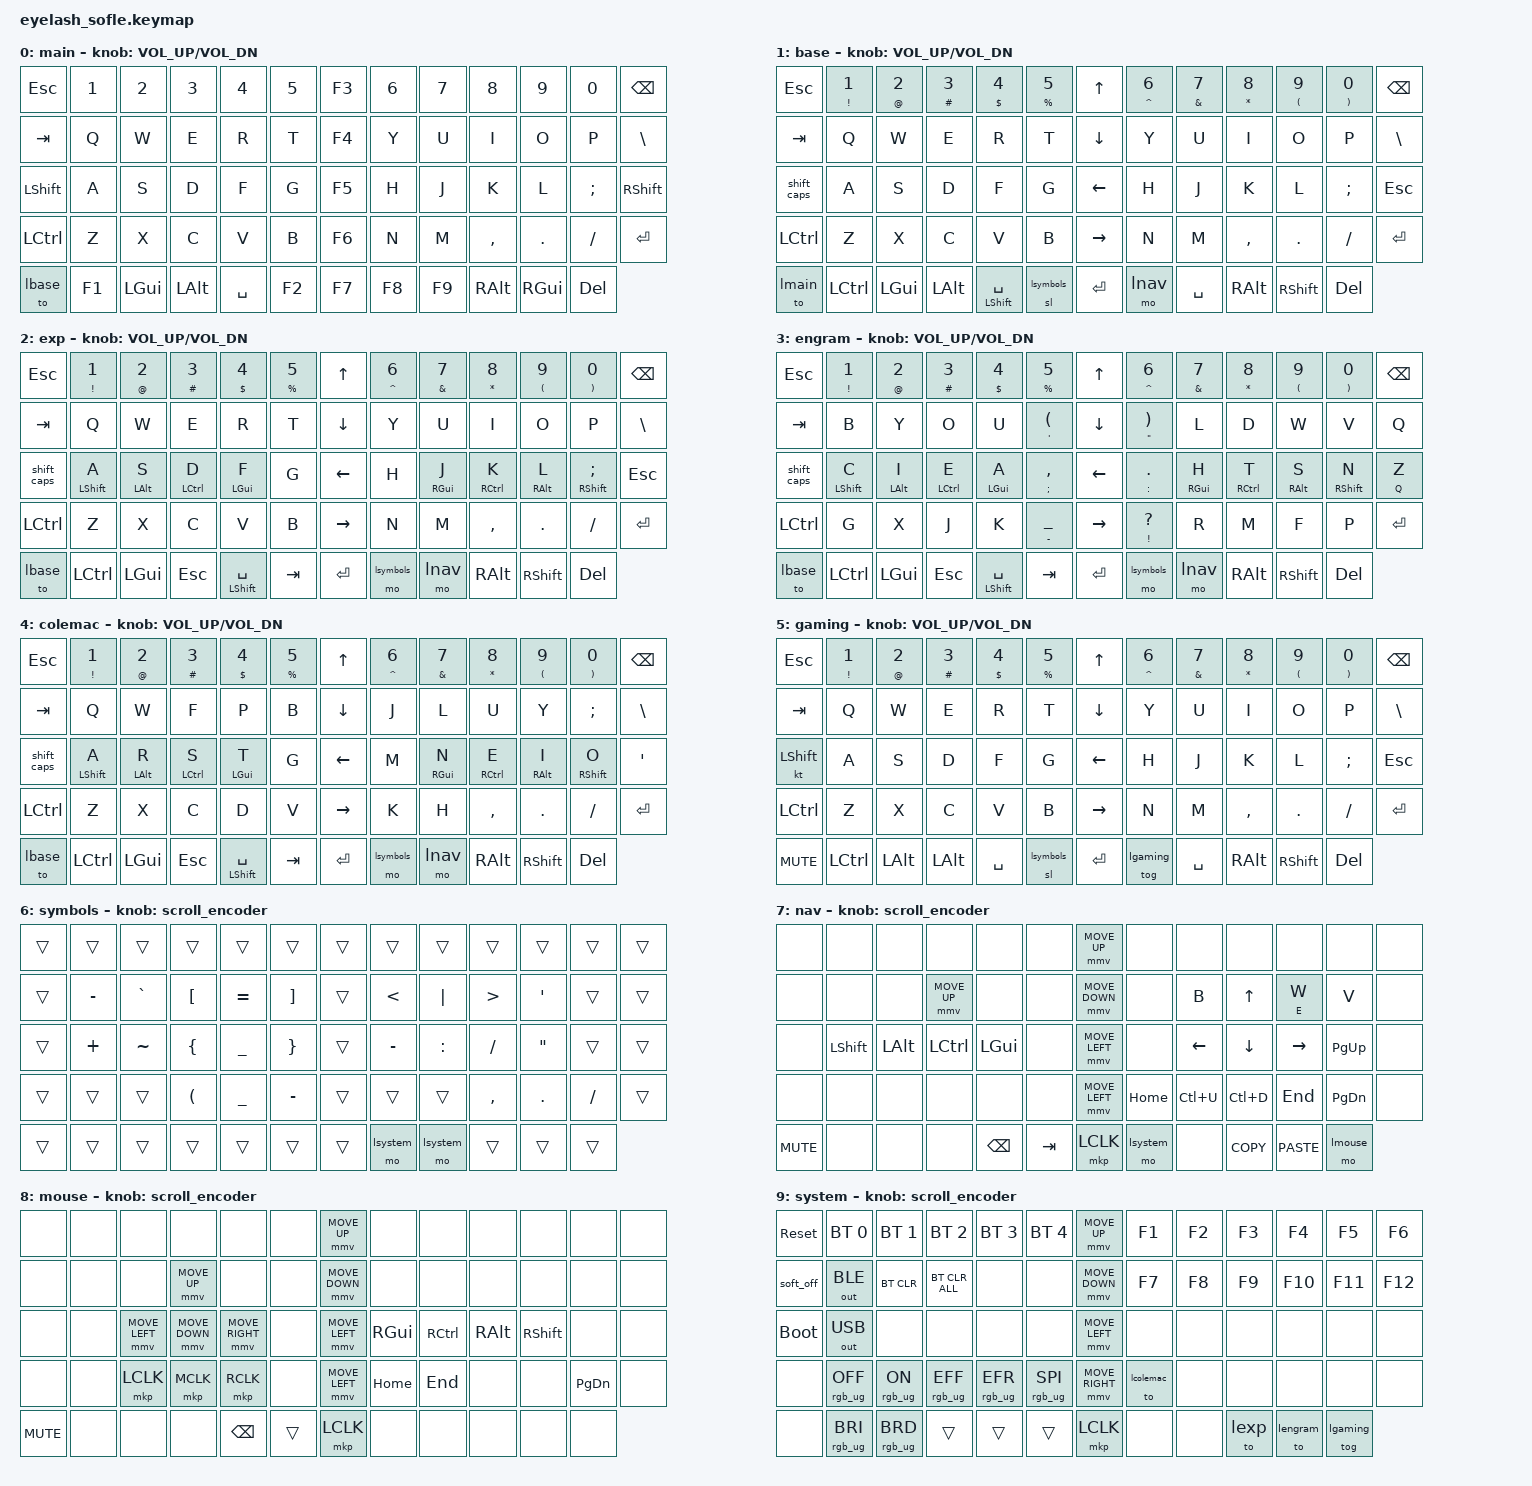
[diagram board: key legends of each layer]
#define ZMK_POINTING_DEFAULT_MOVE_VAL 1200  // 600
#define ZMK_POINTING_DEFAULT_SCRL_VAL 25   // 10

#include <input/processors.dtsi>
#include <zephyr/dt-bindings/input/input-event-codes.h>
#include <behaviors.dtsi>
#include <dt-bindings/zmk/bt.h>
#include <dt-bindings/zmk/ext_power.h>
#include <dt-bindings/zmk/keys.h>
#include <dt-bindings/zmk/pointing.h>
#include <dt-bindings/zmk/rgb.h>
#include <dt-bindings/zmk/outputs.h>


#define lmain 0
#define lbase 1
#define lexp 2
#define lengram 3
#define lcolemac 4
#define lgaming 5
#define lsymbols 6
#define lnav 7
#define lmouse 8
#define lsystem 9

#define LN1 0 
#define LN2 1 
#define LN3 2 
#define LN4 3 
#define LN5 4 
#define LN6 5 


#define JU 6 

#define RN1 7 
#define RN2 8 
#define RN3 9 
#define RN4 10 
#define RN5 11 
#define RN6 12 

#define LT1 13 
#define LT2 14 
#define LT3 15 
#define LT4 16 
#define LT5 17 
#define LT6 18 


#define JD 19 

#define RT1 20 
#define RT2 20 
#define RT3 21 
#define RT4 22 
#define RT5 23 
#define RT6 24 


#define LM1 25 
#define LM2 26 
#define LM3 27 
#define LM4 28 
#define LM5 29 
#define LM6 30 


#define JL 31 

#define RM1 32 
#define RM2 33 
#define RM3 34 
#define RM4 35 
#define RM5 36 
#define RM6 37 


#define LB1 38 
#define LB2 39 
#define LB3 40 
#define LB4 41 
#define LB5 42 
#define LB6 43 

#define JR 44 

#define RB1 45 
#define RB2 46 
#define RB3 47 
#define RB4 48 
#define RB5 49 
#define RB6 50 


#define LH1 51 
#define LH2 52 
#define LH3 53 
#define LH4 54 
#define LH5 55 
#define LH6 56 

#define JC 57 

#define RH1 58 
#define RH2 59 
#define RH3 60 
#define RH4 61 
#define RH5 62 




// Left side
#define LHMS LSHFT
#define LHMG LGUI
#define LHRA LALT
#define LHRC LCTRL

// Right side
#define RHMS RSHFT
#define RHMG RGUI
#define RHMA RALT
#define RHMC RCTRL
// This is a helper macro to allow me to define all home-row modifier without
// having to type all the boilerplate configuration.
#define DEFINE_HRM(_label, _name, _hold, _tap, _triggers, ...)  \
    _label: _name {                                             \
      compatible = "zmk,behavior-hold-tap";                     \
      #binding-cells = <2>;                                     \
      flavor = "balanced";                                      \
      tapping-term-ms = <200>;                                  \
      quick-tap-ms = <175>;                                     \
      bindings = <_hold>, <_tap>;                               \
      hold-trigger-key-positions = <_triggers>;                 \
      hold-trigger-on-release;                                  \
      __VA_ARGS__                                               \
    }


&mmv_input_listener { input-processors = <&zip_xy_scaler 2 1>; };

&msc_input_listener { input-processors = <&zip_scroll_scaler 2 1>; };

&msc {
    acceleration-exponent = <1>;      // 0
    time-to-max-speed-ms = <100>;       // 300
    delay-ms = <0>;                   // 0
};
#define idx(_col, _row) \
  _row * 12 + _col


&mmv {
    time-to-max-speed-ms = <500>;
    acceleration-exponent = <1>;
    trigger-period-ms = <16>;
};
/* #define TAP_DANCE(name) \ */
/*   name: name { \ */
/*     compatible = "zmk,behavior-tap-dance"; \ */
/*     #binding-cells = <0>; \ */
/*     tapping-term-ms = <200>; \ */
/*     bindings: __VA_ARGS__ ; \ */
/*   }; */

/ {

    scroll_encoder: scroll_encoder {
        compatible = "zmk,behavior-sensor-rotate";
        #sensor-binding-cells = <0>;
        bindings = <&msc SCRL_DOWN>, <&msc SCRL_UP>;
        tap-ms = <100>;
    };
    behaviors {
      hml: home_row_mod_left {
            compatible = "zmk,behavior-hold-tap";
            #binding-cells = <2>;
            flavor = "balanced";
            require-prior-idle-ms = <200>;
            tapping-term-ms = <280>;
            quick-tap-ms = <175>;
            bindings = <&kp>, <&kp>;
            hold-trigger-key-positions = < RM1 RM2 RM3 RM4 RM5 RH1 RH2 RH3 LH3 LH4 LH5 LH6 >  ;

            hold-trigger-on-release;
        };
        hmr: home_row_mod_right {
            compatible = "zmk,behavior-hold-tap";
            #binding-cells = <2>;
            flavor = "balanced";
            require-prior-idle-ms = <200>;
            tapping-term-ms = <280>;
            quick-tap-ms = <175>;
            bindings = <&kp>, <&kp>;
            hold-trigger-key-positions = < LM2 LM3 LM4 LM5 LH1 LH2 LH3 LH4 LH5 LH6 >; 
            hold-trigger-on-release;
        };

        
        tmo: tap_mo {
            compatible = "zmk,behavior-hold-tap";
            #binding-cells = <2>;
            flavor = "balanced";
            require-prior-idle-ms = <200>;
            tapping-term-ms = <280>;
            quick-tap-ms = <175>;
            bindings = <&kp>, <&mo>;
            hold-trigger-on-release;
        };
        // Use the macro to define your tap-dance behaviors
        /* TAP_DANCE(numbers, &kp N1 &kp N2 &kp N3) */
        /* TAP_DANCE(media, &kp C_PLAY_PAUSE &kp C_NEXT &kp C_PREV) */

        shift_caps: shift_caps { 
          compatible = "zmk,behavior-tap-dance"; 
          #binding-cells = <0>; 
          tapping-term-ms = <200>; 
          bindings = <&kp LSHIFT>, <&caps_word>; 
        };

    /* DEFINE_HRM(hml, home_row_mod_left, &kp, &kp, KEYS_R THUMBS, */
    /*   require-prior-idle-ms = <100>; */
    /* ); */
    /* DEFINE_HRM(hmr, home_row_mod_right, &kp, &kp, KEYS_L THUMBS, */
    /*   require-prior-idle-ms = <100>; */
    /* ); */
    /**/
    /* // Then, we have to define a behavior like the one before, but for the shift */
    /* // key, which means we cannot use the `require-prior-idle-ms` property */
    /* DEFINE_HRM(hsl, home_row_mod_for_shift_left, &kp, &kp, KEYS_R THUMBS); */
    /* DEFINE_HRM(hsr, home_row_mod_for_shift_right, &kp, &kp, KEYS_L THUMBS); */
    /**/
    /* // Lastly, we need a home-row mod type of behavior that work with layers */
    /* DEFINE_HRM(hll, home_row_layer_mod_left, &mo, &kp, KEYS_R THUMBS LB3 LB2 LB1); */
    /* DEFINE_HRM(hlr, home_row_layer_mod_right, &mo, &kp, KEYS_L THUMBS RB3 RB2 RB1); */
    };

    keymap {
        compatible = "zmk,keymap";

        main {
            bindings = <
&kp ESC        &kp NUMBER_1  &kp NUMBER_2    &kp NUMBER_3       &kp NUMBER_4      &kp NUMBER_5       &kp F3     &kp NUMBER_6  &kp NUMBER_7    &kp NUMBER_8      &kp NUMBER_9             &kp NUMBER_0              &kp BACKSPACE
&kp TAB        &kp Q         &kp W           &kp E              &kp R             &kp T              &kp F4     &kp Y         &kp U           &kp I             &kp O                    &kp P                     &kp BSLH
&kp LSHIFT     &kp A         &kp S           &kp D              &kp F             &kp G              &kp F5     &kp H         &kp J           &kp K             &kp L                    &kp SEMI                  &kp RSHIFT
&kp LCTRL      &kp Z         &kp X           &kp C              &kp V             &kp B              &kp F6     &kp N         &kp M           &kp COMMA         &kp DOT                  &kp FSLH                  &kp ENTER
&to lbase     &kp F1        &kp LEFT_GUI    &kp LEFT_ALT       &kp SPACE         &kp F2             &kp F7     &kp F8        &kp F9          &kp RIGHT_ALT     &kp RGUI                 &kp DELETE
            >;

            sensor-bindings = <&inc_dec_kp C_VOLUME_UP C_VOL_DN>;
            display-name = "main";
        };


        base {
            bindings = <
&kp ESC     &mt EXCL N1  &mt AT N2     &mt HASH NUMBER_3  &mt DOLLAR N4     &mt PERCENT N5     &kp UP_ARROW        &mt CARET N6  &mt AMPS N7     &mt ASTRK N8      &mt LEFT_PARENTHESIS N9  &mt RIGHT_PARENTHESIS N0  &kp BACKSPACE
&kp TAB     &kp Q        &kp W         &kp E              &kp R             &kp T              &kp DOWN_ARROW      &kp Y         &kp U           &kp I             &kp O                    &kp P                     &kp BSLH
&shift_caps &kp A        &kp S         &kp D              &kp F             &kp G              &kp LEFT_ARROW      &kp H         &kp J           &kp K             &kp L                    &kp SEMI                  &kp ESC
&kp LCTRL   &kp Z        &kp X         &kp C              &kp V             &kp B              &kp RIGHT_ARROW     &kp N         &kp M           &kp COMMA         &kp DOT                  &kp FSLH                  &kp ENTER
&to lmain  &kp LCTRL    &kp LEFT_GUI  &kp LEFT_ALT       &mt LSHFT SPACE   &sl lsymbols       &kp ENTER           &mo lnav      &kp SPACE       &kp RIGHT_ALT     &kp RIGHT_SHIFT          &kp DELETE
            >;

            sensor-bindings = <&inc_dec_kp C_VOLUME_UP C_VOL_DN>;
            display-name = "base";
        };

        
        exp {
            bindings = <
&kp ESC     &mt EXCL N1    &mt AT N2     &mt HASH NUMBER_3  &mt DOLLAR N4     &mt PERCENT N5     &kp UP_ARROW        &mt CARET N6  &mt AMPS N7     &mt ASTRK N8      &mt LEFT_PARENTHESIS N9  &mt RIGHT_PARENTHESIS N0  &kp BACKSPACE
&kp TAB     &kp Q          &kp W         &kp E              &kp R             &kp T              &kp DOWN_ARROW      &kp Y         &kp U           &kp I             &kp O                    &kp P                     &kp BSLH
&shift_caps &hml LSHIFT A  &hml LALT S   &hml LCTRL D       &hml LGUI F       &kp G              &kp LEFT_ARROW      &kp H         &hmr RGUI J     &hmr RCTRL K      &hmr RALT L              &hmr RSHIFT SEMI          &kp ESC
&kp LCTRL   &kp Z          &kp X         &kp C              &kp V             &kp B              &kp RIGHT_ARROW     &kp N         &kp M           &kp COMMA         &kp DOT                  &kp FSLH                  &kp ENTER
&to lbase   &kp LCTRL      &kp LEFT_GUI  &kp ESC            &hml LSHFT SPACE  &kp TAB            &kp ENTER           &mo lsymbols  &mo lnav        &kp RIGHT_ALT     &kp RIGHT_SHIFT          &kp DELETE
            >;

            sensor-bindings = <&inc_dec_kp C_VOLUME_UP C_VOL_DN>;
            display-name = "exp";
        };


        engram {
            bindings = <
&kp ESC     &mt EXCL N1    &mt AT N2     &mt HASH NUMBER_3  &mt DOLLAR N4     &mt PERCENT N5             &kp UP_ARROW        &mt CARET N6                &mt AMPS N7     &mt ASTRK N8      &mt LEFT_PARENTHESIS N9  &mt RIGHT_PARENTHESIS N0  &kp BACKSPACE
&kp TAB     &kp B          &kp Y         &kp O              &kp U             &mt SQT LEFT_PARENTHESIS   &kp DOWN_ARROW      &mt DQT RIGHT_PARENTHESIS   &kp L           &kp D             &kp W                    &kp V                     &kp Q
&shift_caps &hml LSHIFT C  &hml LALT I   &hml LCTRL E       &hml LGUI A       &mt SEMI COMMA            &kp LEFT_ARROW       &mt COLON DOT               &hmr RGUI H     &hmr RCTRL T      &hmr RALT S              &hmr RSHIFT N             &mt Q Z
&kp LCTRL   &kp G          &kp X         &kp J              &kp K             &mt MINUS UNDER            &kp RIGHT_ARROW     &mt EXCL QMARK              &kp R           &kp  M            &kp F                    &kp P                  &kp ENTER
&to lbase   &kp LCTRL      &kp LEFT_GUI  &kp ESC            &hml LSHFT SPACE  &kp TAB                    &kp ENTER           &mo lsymbols                &mo lnav        &kp RIGHT_ALT     &kp RIGHT_SHIFT          &kp DELETE
            >;

            sensor-bindings = <&inc_dec_kp C_VOLUME_UP C_VOL_DN>;
            display-name = "engram";
        };


        colemac {
            bindings = <
&kp ESC     &mt EXCL N1    &mt AT N2     &mt HASH NUMBER_3  &mt DOLLAR N4     &mt PERCENT N5     &kp UP_ARROW        &mt CARET N6  &mt AMPS N7     &mt ASTRK N8      &mt LEFT_PARENTHESIS N9  &mt RIGHT_PARENTHESIS N0  &kp BACKSPACE
&kp TAB     &kp Q          &kp W         &kp F              &kp P             &kp B              &kp DOWN_ARROW      &kp J         &kp L           &kp U             &kp Y                   &kp SEMI                     &kp BSLH
&shift_caps &hml LSHIFT A  &hml LALT R   &hml LCTRL S       &hml LGUI T       &kp G              &kp LEFT_ARROW      &kp M       &hmr RGUI N     &hmr RCTRL E      &hmr RALT I              &hmr RSHIFT O              &kp SQT
&kp LCTRL   &kp Z          &kp X         &kp C              &kp D             &kp V              &kp RIGHT_ARROW     &kp K         &kp H           &kp  COMMA          &kp DOT                 &kp FSLH                  &kp ENTER
&to lbase   &kp LCTRL      &kp LEFT_GUI  &kp ESC            &hml LSHFT SPACE  &kp TAB            &kp ENTER           &mo lsymbols  &mo lnav        &kp RIGHT_ALT     &kp RIGHT_SHIFT          &kp DELETE
            >;

            sensor-bindings = <&inc_dec_kp C_VOLUME_UP C_VOL_DN>;
            display-name = "colemac";
        };

          gaming {
            bindings = <
&kp ESC     &mt EXCL N1  &mt AT N2     &mt HASH NUMBER_3  &mt DOLLAR N4  &mt PERCENT N5     &kp UP_ARROW        &mt CARET N6  &mt AMPS N7     &mt ASTRK N8      &mt LEFT_PARENTHESIS N9  &mt RIGHT_PARENTHESIS N0  &kp BACKSPACE
&kp TAB     &kp Q        &kp W         &kp E              &kp R          &kp T              &kp DOWN_ARROW      &kp Y         &kp U           &kp I             &kp O                    &kp P                     &kp BSLH
&kt LSHFT   &kp A        &kp S         &kp D              &kp F          &kp G              &kp LEFT_ARROW      &kp H         &kp J           &kp K             &kp L                    &kp SEMI                  &kp ESC
&kp LCTRL   &kp Z        &kp X         &kp C              &kp V          &kp B              &kp RIGHT_ARROW     &kp N         &kp M           &kp COMMA         &kp DOT                  &kp FSLH                  &kp ENTER
&kp C_MUTE  &kp LCTRL    &kp LEFT_ALT  &kp LEFT_ALT       &kp SPACE      &sl lsymbols       &kp ENTER           &tog lgaming  &kp SPACE       &kp RIGHT_ALT     &kp RIGHT_SHIFT          &kp DELETE
            >;

            sensor-bindings = <&inc_dec_kp C_VOLUME_UP C_VOL_DN>;
            display-name = "gaming";
        };
        
        symbols {
            bindings = <
&trans  &trans     &trans     &trans            &trans             &trans              &trans          &trans       &trans       &trans     &trans   &trans    &trans
&trans  &kp MINUS  &kp GRAVE  &kp LEFT_BRACKET  &kp EQUAL          &kp RIGHT_BRACKET   &trans          &kp LT       &kp PIPE     &kp GT     &kp SQT  &trans    &trans
&trans  &kp PLUS   &kp TILDE  &kp LEFT_BRACE    &kp UNDER          &kp RIGHT_BRACE     &trans          &kp MINUS    &kp COLON    &kp FSLH   &kp DQT  &trans    &trans
&trans  &trans     &trans     &kp LPAR          &kp UNDER          &kp MINUS           &trans          &trans       &trans       &kp COMMA  &kp DOT  &kp FSLH  &trans
&trans  &trans     &trans     &trans            &trans             &trans              &trans          &mo lsystem  &mo lsystem  &trans     &trans   &trans
            >;
            sensor-bindings = <&scroll_encoder>;
            display-name = "symbols";
        };

        nav {
            bindings = <
&none       &none            &none           &none            &none            &none                   &mmv MOVE_UP         &none            &none            &none       &none        &none          &none
&none       &none            &none           &mmv MOVE_UP     &none            &none                   &mmv MOVE_DOWN       &none            &kp B            &kp UP      &mt E W      &kp V          &none
&none       &kp LSHIFT       &kp LALT        &kp LCTRL        &kp LGUI         &none                   &mmv MOVE_LEFT       &none            &kp LEFT         &kp DOWN    &kp RIGHT    &kp PAGE_UP    &none
&none       &none            &none           &none            &none            &none                   &mmv MOVE_LEFT       &kp HOME         &kp LC(U)        &kp LC(D)   &kp END      &kp PAGE_DOWN  &none
&kp C_MUTE  &none            &none           &none            &kp BACKSPACE    &kp TAB                 &mkp LCLK            &mo lsystem      &none            &kp K_COPY  &kp K_PASTE  &mo lmouse 
            >;

            display-name = "nav";
            sensor-bindings = <&scroll_encoder>;
        };

        mouse {
            bindings = <
&none       &none            &none           &none            &none            &none                   &mmv MOVE_UP         &none            &none            &none       &none      &none          &none
&none       &none            &none           &mmv MOVE_UP     &none            &none                   &mmv MOVE_DOWN       &none            &none            &none       &none      &none          &none
&none       &none            &mmv MOVE_LEFT  &mmv MOVE_DOWN   &mmv MOVE_RIGHT  &none                   &mmv MOVE_LEFT       &kp RGUI         &kp RCTRL        &kp RALT    &kp RSHIFT  &none          &none
&none       &none            &mkp LCLK       &mkp MCLK        &mkp RCLK        &none                   &mmv MOVE_LEFT       &kp HOME         &kp END          &none       &none      &kp PAGE_DOWN  &none
&kp C_MUTE  &none            &none           &none            &kp BACKSPACE    &trans                  &mkp LCLK            &none            &none            &none       &none      &none
            >;

            display-name = "mouse";
            sensor-bindings = <&scroll_encoder>;
        };

        system {
            bindings = <
&sys_reset      &bt BT_SEL 0     &bt BT_SEL 1    &bt BT_SEL 2     &bt BT_SEL 3     &bt BT_SEL 4              &mmv MOVE_UP           &kp F1         &kp F2         &kp F3    &kp F4     &kp F5    &kp F6 
&soft_off       &out OUT_BLE     &bt BT_CLR      &bt BT_CLR_ALL   &none            &none                     &mmv MOVE_DOWN         &kp F7         &kp F8         &kp F9    &kp F10    &kp F11   &kp F12
&bootloader     &out OUT_USB     &none           &none            &none            &none                     &mmv MOVE_LEFT         &none          &none          &none     &none      &none     &none
&none           &rgb_ug RGB_OFF  &rgb_ug RGB_ON  &rgb_ug RGB_EFF  &rgb_ug RGB_EFR  &rgb_ug RGB_SPI           &mmv MOVE_RIGHT        &to lcolemac   &none          &none     &none      &none     &none 
&none           &rgb_ug RGB_BRI  &rgb_ug RGB_BRD &trans           &trans           &trans                    &mkp LCLK              &none          &none          &to lexp  &to lengram  &tog lgaming  
            >;

            display-name = "system";
            sensor-bindings = <&scroll_encoder>;
        };
    };

};
